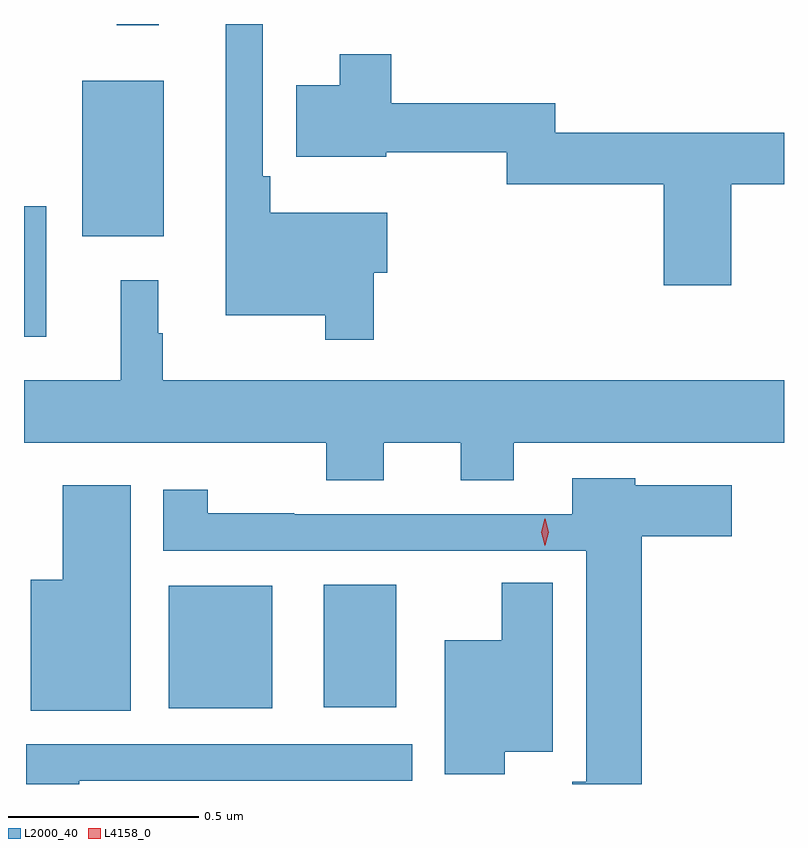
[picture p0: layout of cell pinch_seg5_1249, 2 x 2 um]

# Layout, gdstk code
import gdstk
lib = gdstk.Library(unit=1e-6, precision=1e-09)
def R(c, l, rs):  # rectangles x0, y0, x1, y1
    for r in rs: c.add(gdstk.rectangle(r[:2], r[2:], *l))
def P(c, l, *ps):  # polygons
    for p in ps: c.add(gdstk.Polygon(p, *l))
L2000_40 = (2000, 40)
L4158_0 = (4158, 0)

pinch_seg5_1249 = lib.new_cell('pinch_seg5_1249')
R(pinch_seg5_1249, L2000_40, [(414.668,910.673,414.94,910.996), (415.076,910.676,415.267,910.999), (414.287,911.651,414.346,911.995), (414.44,911.915,414.655,912.325), (414.531,912.471,414.641,912.474)])
P(pinch_seg5_1249, L2000_40, [(415.208,911.819),(415.243,911.819),(415.243,911.977),(414.935,911.977),(414.935,912.073),(414.915,912.073),(414.915,912.474),(414.818,912.474),(414.818,911.708),(415.08,911.708),(415.08,911.643),(415.208,911.643)],
  [(416.148,912.052),(416.287,912.052),(416.287,912.188),(415.685,912.188),(415.685,912.265),(415.253,912.265),(415.253,912.394),(415.118,912.394),(415.118,912.313),(415.004,912.313),(415.004,912.125),(415.24,912.125),(415.24,912.136),(415.557,912.136),(415.557,912.052),(415.97,912.052),(415.97,911.787),(416.148,911.787)],
  [(415.234,911.372),(415.436,911.372),(415.436,911.273),(415.576,911.273),(415.576,911.372),(416.287,911.372),(416.287,911.536),(414.652,911.536),(414.652,911.66),(414.64,911.66),(414.64,911.8),(414.542,911.8),(414.542,911.536),(414.287,911.536),(414.287,911.372),(415.082,911.372),(415.082,911.273),(415.234,911.273)],
  [(415.913,911.126),(416.149,911.126),(416.149,911.26),(415.896,911.26),(415.896,911.278),(415.73,911.278),(415.73,911.184),(414.998,911.184),(414.998,911.186),(414.771,911.186),(414.771,911.248),(414.653,911.248),(414.653,911.088),(415.766,911.088),(415.766,910.48),(415.73,910.48),(415.73,910.474),(415.913,910.474)],
  [(414.568,911.26),(414.389,911.26),(414.389,911.011),(414.305,911.011),(414.305,910.667),(414.568,910.667)],
  [(415.552,910.559),(415.678,910.559),(415.678,911.003),(415.544,911.003),(415.544,910.852),(415.394,910.852),(415.394,910.5),(415.552,910.5)],
  [(414.433,910.482),(415.309,910.482),(415.309,910.578),(414.293,910.578),(414.293,910.474),(414.433,910.474)])
P(pinch_seg5_1249, L4158_0, [(415.658,911.101),(415.658,911.102),(415.648,911.137),(415.658,911.172),(415.658,911.172),(415.659,911.172),(415.668,911.137),(415.659,911.102)])

lib.write_gds('pinch_seg5_1249.gds')
